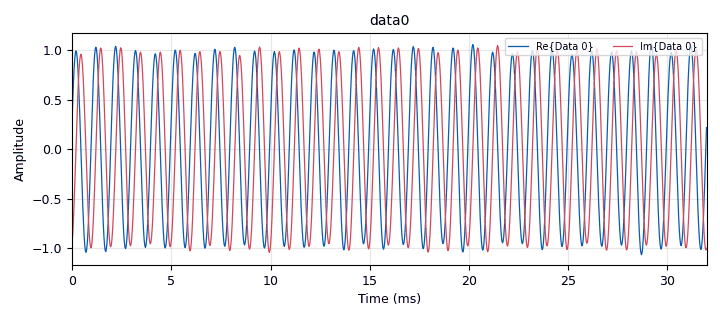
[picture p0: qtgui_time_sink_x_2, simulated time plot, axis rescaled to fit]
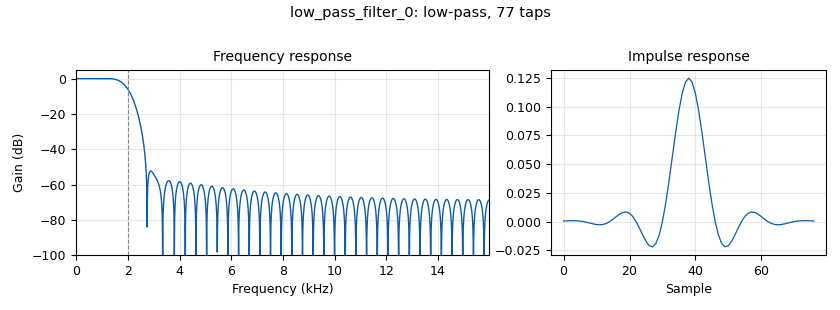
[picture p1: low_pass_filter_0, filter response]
<?xml version='1.0' encoding='utf-8'?>
<?grc format='1' created='3.7.10'?>
<flow_graph>
<block>
<key>options</key>
<param><key>id</key><value>auto_gain_lp</value></param>
<param><key>generate_options</key><value>qt_gui</value></param>
</block>
<block>
<key>variable_qtgui_range</key>
<param><key>id</key><value>ampl</value></param>
<param><key>value</key><value>1</value></param>
<param><key>orient</key><value>Qt.Horizontal</value></param>
<param><key>start</key><value>0</value></param>
<param><key>step</key><value>0.1</value></param>
<param><key>stop</key><value>10</value></param>
</block>
<block>
<key>variable_qtgui_range</key>
<param><key>id</key><value>auto_gain_ratio</value></param>
<param><key>value</key><value>0.1</value></param>
<param><key>orient</key><value>Qt.Horizontal</value></param>
<param><key>start</key><value>0</value></param>
<param><key>step</key><value>0.01</value></param>
<param><key>stop</key><value>2</value></param>
</block>
<block>
<key>variable_qtgui_range</key>
<param><key>id</key><value>cutoff_freq</value></param>
<param><key>value</key><value>2000</value></param>
<param><key>label</key><value>cutoff frequency</value></param>
<param><key>orient</key><value>Qt.Horizontal</value></param>
<param><key>start</key><value>0</value></param>
<param><key>step</key><value>1</value></param>
<param><key>stop</key><value>10000</value></param>
</block>
<block>
<key>variable</key>
<param><key>id</key><value>samp_rate</value></param>
<param><key>value</key><value>32000</value></param>
</block>
<block>
<key>variable_qtgui_range</key>
<param><key>id</key><value>trans_width</value></param>
<param><key>value</key><value>1000</value></param>
<param><key>label</key><value>transition width</value></param>
<param><key>orient</key><value>Qt.Horizontal</value></param>
<param><key>start</key><value>0</value></param>
<param><key>step</key><value>100</value></param>
<param><key>stop</key><value>10000</value></param>
</block>
<block>
<key>analog_noise_source_x</key>
<param><key>id</key><value>analog_noise_source_x_0</value></param>
<param><key>amp</key><value>0.1*ampl</value></param>
<param><key>noise_type</key><value>analog.GR_GAUSSIAN</value></param>
<param><key>type</key><value>complex</value></param>
<param><key>seed</key><value>0</value></param>
</block>
<block>
<key>analog_sig_source_x</key>
<param><key>id</key><value>analog_sig_source_x_0</value></param>
<param><key>amp</key><value>ampl</value></param>
<param><key>freq</key><value>1000</value></param>
<param><key>offset</key><value>0</value></param>
<param><key>type</key><value>complex</value></param>
<param><key>samp_rate</key><value>samp_rate</value></param>
<param><key>waveform</key><value>analog.GR_COS_WAVE</value></param>
</block>
<block>
<key>auto_gain_low_pass_filter</key>
<param><key>id</key><value>auto_gain_low_pass_filter_0</value></param>
<param><key>beta</key><value>6.76</value></param>
<param><key>cutoff_freq</key><value>cutoff_freq</value></param>
<param><key>decim</key><value>1</value></param>
<param><key>type</key><value>fir_filter_ccf</value></param>
<param><key>gain_update</key><value>0.95</value></param>
<param><key>interp</key><value>1</value></param>
<param><key>autogain</key><value>auto_gain_ratio</value></param>
<param><key>samp_rate</key><value>samp_rate</value></param>
<param><key>width</key><value>trans_width</value></param>
<param><key>win</key><value>firdes.WIN_HAMMING</value></param>
</block>
<block>
<key>blocks_add_xx</key>
<param><key>id</key><value>blocks_add_xx_0</value></param>
<param><key>type</key><value>complex</value></param>
</block>
<block>
<key>low_pass_filter</key>
<param><key>id</key><value>low_pass_filter_0</value></param>
<param><key>cutoff_freq</key><value>cutoff_freq</value></param>
<param><key>decim</key><value>1</value></param>
<param><key>type</key><value>fir_filter_ccf</value></param>
<param><key>gain</key><value>1</value></param>
<param><key>samp_rate</key><value>samp_rate</value></param>
<param><key>width</key><value>trans_width</value></param>
<param><key>win</key><value>firdes.WIN_HAMMING</value></param>
</block>
<block>
<key>qtgui_time_sink_x</key>
<param><key>id</key><value>qtgui_time_sink_x_0</value></param>
<param><key>color1</key><value>"blue"</value></param>
<param><key>label1</key><value></value></param>
<param><key>color2</key><value>"red"</value></param>
<param><key>label2</key><value></value></param>
<param><key>name</key><value>"data"</value></param>
<param><key>size</key><value>1024</value></param>
<param><key>srate</key><value>samp_rate</value></param>
<param><key>type</key><value>complex</value></param>
</block>
<block>
<key>qtgui_time_sink_x</key>
<param><key>id</key><value>qtgui_time_sink_x_2</value></param>
<param><key>color1</key><value>"blue"</value></param>
<param><key>label1</key><value></value></param>
<param><key>color2</key><value>"red"</value></param>
<param><key>label2</key><value></value></param>
<param><key>name</key><value>"data0"</value></param>
<param><key>size</key><value>1024</value></param>
<param><key>srate</key><value>samp_rate</value></param>
<param><key>type</key><value>complex</value></param>
</block>
<connection><source_block_id>analog_noise_source_x_0</source_block_id><sink_block_id>blocks_add_xx_0</sink_block_id><source_key>0</source_key><sink_key>0</sink_key></connection>
<connection><source_block_id>analog_sig_source_x_0</source_block_id><sink_block_id>blocks_add_xx_0</sink_block_id><source_key>0</source_key><sink_key>1</sink_key></connection>
<connection><source_block_id>auto_gain_low_pass_filter_0</source_block_id><sink_block_id>qtgui_time_sink_x_0</sink_block_id><source_key>0</source_key><sink_key>0</sink_key></connection>
<connection><source_block_id>blocks_add_xx_0</source_block_id><sink_block_id>auto_gain_low_pass_filter_0</sink_block_id><source_key>0</source_key><sink_key>0</sink_key></connection>
<connection><source_block_id>blocks_add_xx_0</source_block_id><sink_block_id>low_pass_filter_0</sink_block_id><source_key>0</source_key><sink_key>0</sink_key></connection>
<connection><source_block_id>low_pass_filter_0</source_block_id><sink_block_id>qtgui_time_sink_x_2</sink_block_id><source_key>0</source_key><sink_key>0</sink_key></connection>
</flow_graph>
